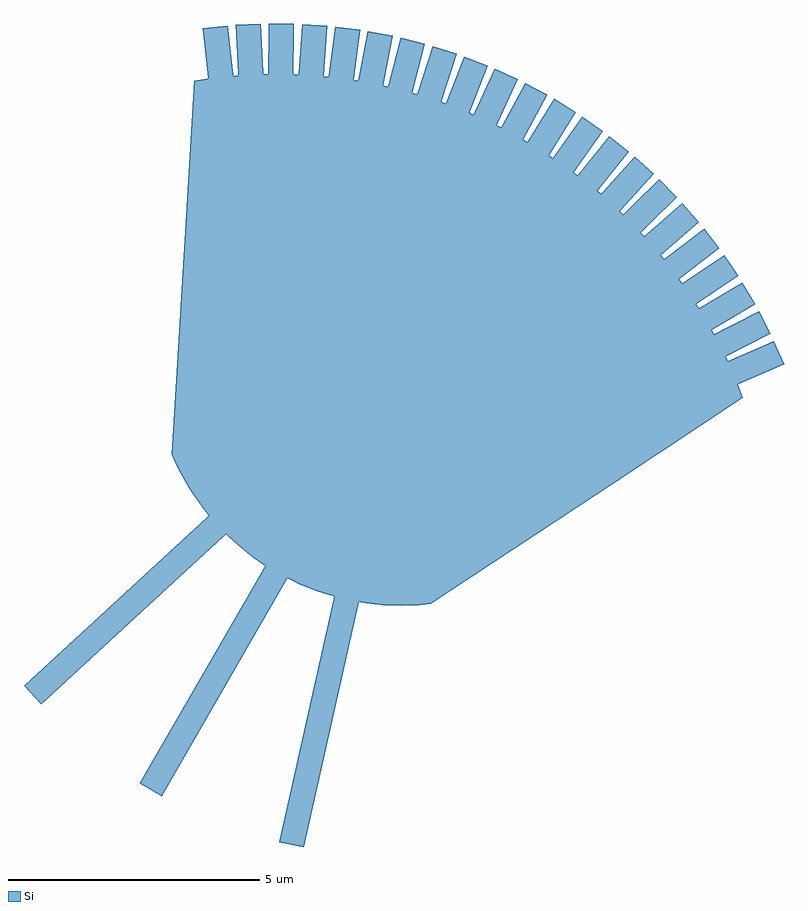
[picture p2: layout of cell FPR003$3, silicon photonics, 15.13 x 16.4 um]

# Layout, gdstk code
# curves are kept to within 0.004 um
from math import pi, radians
import gdstk
lib = gdstk.Library(unit=1e-6, precision=1e-09)
def R(c, l, rs):  # rectangles x0, y0, x1, y1
    for r in rs: c.add(gdstk.rectangle(r[:2], r[2:], *l))
def P(c, l, *ps):  # polygons
    for p in ps: c.add(gdstk.Polygon(p, *l))
Si = (1, 0)

taper006_3 = lib.new_cell('taper006$3')
R(taper006_3, Si, [(-1,-0.25,2.5,0.25)])

taper005_3 = lib.new_cell('taper005$3')
R(taper005_3, Si, [(-5,-0.25,2.5,0.25)])

boolean004_3 = lib.new_cell('boolean004$3')
P(boolean004_3, Si, [(2.695,-6.307),(-3.967,-2.977),(-4.112,-2.774),(-4.206,-2.628),(-4.379,-2.329),(-4.458,-2.174),(-4.599,-1.858),(-4.717,-1.533),(-4.813,-1.2),(-4.885,-0.861),(-4.912,-0.69),(-4.948,-0.346),(-4.96,0),(-4.948,0.346),(-4.912,0.69),(-4.885,0.861),(-4.813,1.2),(-4.717,1.533),(-4.599,1.858),(-4.458,2.174),(-4.379,2.329),(-4.206,2.628),(-4.112,2.774),(-3.967,2.977),(2.695,6.307),(2.857,6.107),(3.065,5.831),(3.264,5.547),(3.453,5.257),(3.631,4.96),(3.799,4.657),(3.956,4.349),(4.102,4.035),(4.238,3.716),(4.362,3.393),(4.474,3.065),(4.576,2.734),(4.665,2.4),(4.743,2.062),(4.809,1.723),(4.863,1.381),(4.906,1.037),(4.936,0.692),(4.954,0.346),(4.96,0),(4.954,-0.346),(4.936,-0.692),(4.906,-1.037),(4.863,-1.381),(4.809,-1.723),(4.743,-2.062),(4.665,-2.4),(4.576,-2.734),(4.474,-3.065),(4.362,-3.393),(4.238,-3.716),(4.102,-4.035),(3.956,-4.349),(3.799,-4.657),(3.631,-4.96),(3.453,-5.257),(3.264,-5.547),(3.065,-5.831),(2.857,-6.107)])

fpr003_3 = lib.new_cell('FPR003$3')
fpr003_3.add(gdstk.Reference(taper006_3, (21.233,0.219), rotation=radians(207.073)))
fpr003_3.add(gdstk.Reference(taper006_3, (20.944,0.745), rotation=radians(210.539)))
fpr003_3.add(gdstk.Reference(taper006_3, (20.624,1.252), rotation=radians(214.005)))
fpr003_3.add(gdstk.Reference(taper006_3, (20.273,1.739), rotation=radians(217.471)))
fpr003_3.add(gdstk.Reference(taper006_3, (19.055,3.061), rotation=radians(227.869)))
fpr003_3.add(gdstk.Reference(taper006_3, (19.487,2.646), rotation=radians(224.403)))
fpr003_3.add(gdstk.Reference(taper006_3, (18.598,3.45), rotation=radians(231.335)))
fpr003_3.add(gdstk.Reference(taper006_3, (19.894,2.204), rotation=radians(220.937)))
fpr003_3.add(gdstk.Reference(taper005_3, (11.229,-3.358), rotation=radians(42.6059), x_reflection=True))
fpr003_3.add(gdstk.Reference(taper005_3, (12.4,-4.295), rotation=radians(60), x_reflection=True))
fpr003_3.add(gdstk.Reference(taper006_3, (12.493,5.624), rotation=radians(269.461)))
fpr003_3.add(gdstk.Reference(taper006_3, (14.282,5.444), rotation=radians(259.063)))
fpr003_3.add(gdstk.Reference(boolean004_3, (14.88,0), rotation=radians(60), x_reflection=True))
fpr003_3.add(gdstk.Reference(taper005_3, (13.798,-4.84), rotation=radians(77.3941), x_reflection=True))
fpr003_3.add(gdstk.Reference(taper006_3, (13.093,5.6), rotation=radians(265.995)))
fpr003_3.add(gdstk.Reference(taper006_3, (18.118,3.811), rotation=radians(234.801)))
fpr003_3.add(gdstk.Reference(taper006_3, (17.098,4.442), rotation=radians(241.733)))
fpr003_3.add(gdstk.Reference(taper006_3, (11.295,5.563), rotation=radians(276.393)))
fpr003_3.add(gdstk.Reference(taper006_3, (13.69,5.54), rotation=radians(262.529)))
fpr003_3.add(gdstk.Reference(taper006_3, (21.49,-0.323), rotation=radians(203.607)))
fpr003_3.add(gdstk.Reference(taper006_3, (11.893,5.612), rotation=radians(272.927)))
fpr003_3.add(gdstk.Reference(taper006_3, (14.868,5.313), rotation=radians(255.597)))
fpr003_3.add(gdstk.Reference(taper006_3, (17.618,4.142), rotation=radians(238.267)))
fpr003_3.add(gdstk.Reference(taper006_3, (15.444,5.146), rotation=radians(252.131)))
fpr003_3.add(gdstk.Reference(taper006_3, (16.561,4.71), rotation=radians(245.199)))
fpr003_3.add(gdstk.Reference(taper006_3, (16.009,4.945), rotation=radians(248.665)))

lib.write_gds('FPR003_3.gds')
